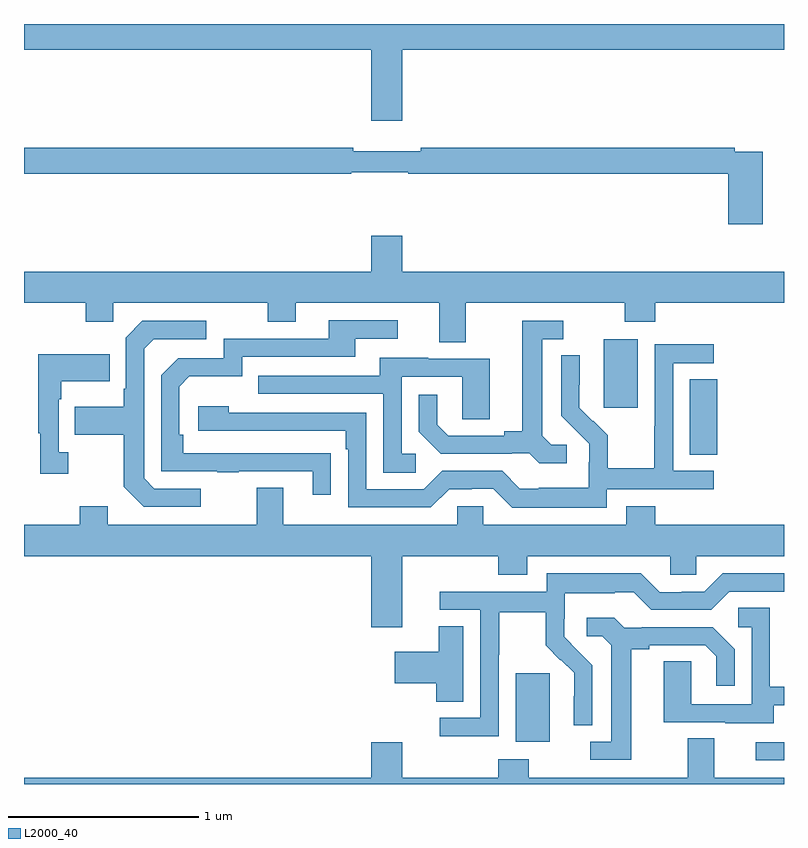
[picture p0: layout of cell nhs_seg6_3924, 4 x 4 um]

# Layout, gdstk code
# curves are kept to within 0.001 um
import gdstk
lib = gdstk.Library(unit=1e-6, precision=1e-09)
def R(c, l, rs):  # rectangles x0, y0, x1, y1
    for r in rs: c.add(gdstk.rectangle(r[:2], r[2:], *l))
def P(c, l, *ps):  # polygons
    for p in ps: c.add(gdstk.Polygon(p, *l))
L2000_40 = (2000, 40)

nhs_seg6_3924 = lib.new_cell('nhs_seg6_3924')
R(nhs_seg6_3924, L2000_40, [(346.851,915.624,347,915.72), (345.587,915.722,345.766,916.083), (346.505,917.233,346.649,917.63), (346.052,917.481,346.231,917.842)])
P(nhs_seg6_3924, L2000_40, [(344.992,919.364),(347,919.364),(347,919.5),(343,919.5),(343,919.364),(344.828,919.364),(344.828,918.99),(344.992,918.99)],
  [(346.889,918.828),(346.742,918.828),(346.742,918.848),(345.088,918.848),(345.088,918.829),(344.732,918.829),(344.732,918.848),(343,918.848),(343,918.712),(344.722,918.712),(344.722,918.72),(345.022,918.72),(345.022,918.712),(346.706,918.712),(346.706,918.447),(346.889,918.447)],
  [(345.325,918.032),(346.162,918.032),(346.162,917.933),(346.322,917.933),(346.322,918.032),(347,918.032),(347,918.196),(344.992,918.196),(344.992,918.385),(344.828,918.385),(344.828,918.196),(343,918.196),(343,918.032),(343.324,918.032),(343.324,917.933),(343.47,917.933),(343.47,918.032),(344.284,918.032),(344.284,917.933),(344.431,917.933),(344.431,918.032),(345.185,918.032),(345.185,917.824),(345.325,917.824)],
  [(344.615,917.24),(343.838,917.241),(343.838,917.338),(343.818,917.338),(343.818,917.592),(343.871,917.645),(344.148,917.645),(344.148,917.748),(344.743,917.748),(344.743,917.844),(344.968,917.844),(344.968,917.94),(344.603,917.94),(344.603,917.844),(344.052,917.844),(344.052,917.742),(343.812,917.742),(343.722,917.652),(343.722,917.145),(344.017,917.145),(344.017,917.14),(344.129,917.14),(344.129,917.145),(344.519,917.145),(344.519,917.022),(344.615,917.022)],
  [(343.93,917.055),(343.686,917.055),(343.632,917.109),(343.632,917.79),(343.683,917.841),(343.96,917.841),(343.96,917.937),(343.623,917.937),(343.536,917.85),(343.536,917.581),(343.524,917.581),(343.524,917.485),(343.267,917.485),(343.267,917.338),(343.524,917.338),(343.524,917.065),(343.629,916.959),(343.93,916.959)],
  [(345.856,917.286),(345.774,917.286),(345.727,917.333),(345.727,917.841),(345.838,917.841),(345.838,917.937),(345.623,917.937),(345.623,917.357),(345.527,917.357),(345.527,917.334),(345.232,917.334),(345.175,917.391),(345.175,917.548),(345.078,917.548),(345.078,917.354),(345.194,917.238),(345.566,917.238),(345.566,917.241),(345.66,917.241),(345.712,917.189),(345.856,917.189)],
  [(346.068,917.052),(346.63,917.052),(346.63,917.148),(346.416,917.148),(346.416,917.715),(346.63,917.715),(346.63,917.814),(346.32,917.814),(346.32,917.384),(346.318,917.384),(346.318,917.161),(346.073,917.161),(346.073,917.335),(345.996,917.412),(345.993,917.409),(345.923,917.48),(345.924,917.756),(345.828,917.756),(345.828,917.438),(345.974,917.29),(345.974,917.193),(345.972,917.193),(345.972,917.059),(345.709,917.059),(345.709,917.055),(345.609,917.055),(345.516,917.148),(345.201,917.148),(345.105,917.052),(344.802,917.052),(344.802,917.454),(344.078,917.454),(344.078,917.488),(343.917,917.488),(343.917,917.358),(344.693,917.358),(344.693,917.261),(344.706,917.261),(344.706,916.956),(345.141,916.956),(345.237,917.052),(345.356,917.052),(345.356,917.055),(345.471,917.055),(345.571,916.955),(346.068,916.955)],
  [(343.234,917.246),(343.182,917.246),(343.182,917.525),(343.195,917.525),(343.195,917.621),(343.451,917.621),(343.451,917.761),(343.074,917.761),(343.074,917.345),(343.085,917.345),(343.085,917.133),(343.234,917.133)],
  [(345.061,917.238),(344.988,917.238),(344.988,917.643),(345.306,917.643),(345.306,917.419),(345.451,917.419),(345.451,917.739),(345.127,917.739),(345.127,917.743),(344.873,917.743),(344.873,917.649),(344.233,917.649),(344.233,917.553),(344.892,917.553),(344.892,917.137),(345.061,917.137)],
  [(344.992,916.7),(345.497,916.7),(345.497,916.601),(345.649,916.601),(345.649,916.7),(346.401,916.7),(346.401,916.602),(346.539,916.602),(346.539,916.7),(347,916.7),(347,916.864),(346.322,916.864),(346.322,916.963),(346.169,916.963),(346.169,916.864),(345.417,916.864),(345.417,916.962),(345.279,916.962),(345.279,916.864),(344.365,916.864),(344.365,917.059),(344.225,917.059),(344.225,916.864),(343.441,916.864),(343.441,916.963),(343.294,916.963),(343.294,916.864),(343,916.864),(343,916.7),(344.828,916.7),(344.828,916.326),(344.992,916.326)],
  [(345.498,916.18),(345.501,916.18),(345.501,916.404),(345.745,916.404),(345.745,916.229),(345.822,916.152),(345.825,916.155),(345.896,916.085),(345.896,915.962),(345.894,915.962),(345.894,915.808),(345.99,915.808),(345.99,916.126),(345.844,916.274),(345.844,916.371),(345.846,916.371),(345.846,916.505),(346.109,916.505),(346.109,916.509),(346.209,916.509),(346.302,916.416),(346.617,916.416),(346.713,916.512),(347,916.512),(347,916.608),(346.677,916.608),(346.581,916.512),(346.463,916.512),(346.463,916.509),(346.347,916.509),(346.247,916.609),(345.75,916.609),(345.75,916.512),(345.189,916.512),(345.189,916.416),(345.402,916.416),(345.402,915.849),(345.189,915.849),(345.189,915.751),(345.498,915.751)],
  [(346.945,915.915),(347,915.915),(347,916.011),(346.926,916.011),(346.926,916.427),(346.758,916.427),(346.758,916.326),(346.83,916.326),(346.83,915.921),(346.512,915.921),(346.512,916.145),(346.367,916.145),(346.367,915.825),(346.691,915.825),(346.691,915.821),(346.945,915.821)],
  [(346.195,916.208),(346.291,916.208),(346.291,916.23),(346.586,916.23),(346.643,916.173),(346.643,916.017),(346.74,916.017),(346.74,916.21),(346.624,916.326),(346.252,916.326),(346.252,916.323),(346.158,916.323),(346.106,916.375),(345.963,916.375),(345.963,916.278),(346.044,916.278),(346.091,916.231),(346.091,915.723),(345.981,915.723),(345.981,915.627),(346.195,915.627)],
  [(345.313,916.331),(345.182,916.331),(345.182,916.195),(344.952,916.195),(344.952,916.03),(345.17,916.03),(345.17,915.934),(345.313,915.934)],
  [(347,915.532),(346.633,915.532),(346.633,915.74),(346.493,915.74),(346.493,915.532),(345.657,915.532),(345.657,915.631),(345.497,915.631),(345.497,915.532),(344.992,915.532),(344.992,915.721),(344.828,915.721),(344.828,915.532),(343,915.532),(343,915.5),(347,915.5)])

lib.write_gds('nhs_seg6_3924.gds')
